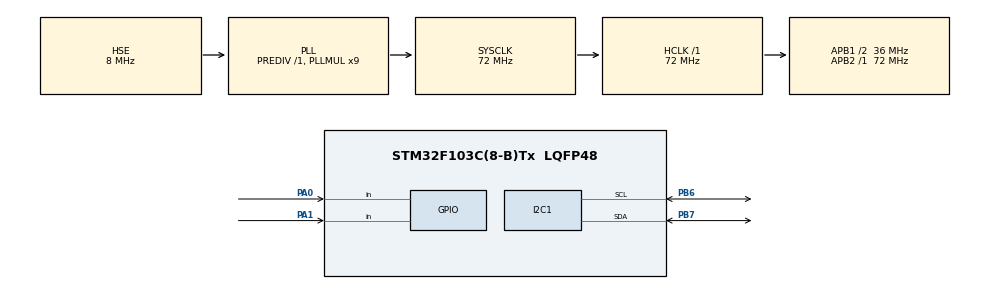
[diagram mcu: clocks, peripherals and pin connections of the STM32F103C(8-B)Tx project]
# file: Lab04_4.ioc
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Mcu.Family=STM32F1
Mcu.Name=STM32F103C(8-B)Tx
Mcu.Package=LQFP48
NVIC.PriorityGroup=NVIC_PRIORITYGROUP_4
PA0-WKUP.GPIO_PuPd=GPIO_PULLUP
PA0-WKUP.Signal=GPIO_Input
PA1.GPIO_PuPd=GPIO_PULLUP
PA1.Signal=GPIO_Input
PA13.Mode=Serial_Wire
PA13.Signal=SYS_JTMS-SWDIO
PA14.Mode=Serial_Wire
PA14.Signal=SYS_JTCK-SWCLK
PB6.Mode=I2C
PB6.Signal=I2C1_SCL
PB7.Mode=I2C
PB7.Signal=I2C1_SDA
PD0-OSC_IN.Mode=HSE-External-Oscillator
PD0-OSC_IN.Signal=RCC_OSC_IN
PD1-OSC_OUT.Mode=HSE-External-Oscillator
PD1-OSC_OUT.Signal=RCC_OSC_OUT
ProjectManager.HeapSize=0x200
ProjectManager.StackSize=0x400
ProjectManager.TargetToolchain=CMake
RCC.AHBFreq_Value=72000000
RCC.APB1CLKDivider=RCC_HCLK_DIV2
RCC.APB1Freq_Value=36000000
RCC.APB1TimFreq_Value=72000000
RCC.APB2Freq_Value=72000000
RCC.APB2TimFreq_Value=72000000
RCC.HCLKFreq_Value=72000000
RCC.PLLMUL=RCC_PLL_MUL9
RCC.PLLSourceVirtual=RCC_PLLSOURCE_HSE
RCC.SYSCLKFreq_VALUE=72000000
RCC.SYSCLKSource=RCC_SYSCLKSOURCE_PLLCLK
RCC.USBFreq_Value=72000000
board=custom

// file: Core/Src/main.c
/* USER CODE BEGIN Header */
/**
  ******************************************************************************
  * @file           : main.c
  * @brief          : Main program body
  ******************************************************************************
  * @attention
  *
  * Copyright (c) 2026 STMicroelectronics.
  * All rights reserved.
  *
  * This software is licensed under terms that can be found in the LICENSE file
  * in the root directory of this software component.
  * If no LICENSE file comes with this software, it is provided AS-IS.
  *
  ******************************************************************************
  */
/* USER CODE END Header */
#include "main.h"

/* USER CODE BEGIN Includes */
#include "i2c-lcd.h"
#include <stdio.h>
#include <string.h>
/* USER CODE END Includes */

I2C_HandleTypeDef hi2c1;

void SystemClock_Config(void);
static void MX_GPIO_Init(void);
static void MX_I2C1_Init(void);

/* USER CODE BEGIN 0 */
#define MEMBER_COUNT 3
const char *member_name[MEMBER_COUNT] = {"Y.Thathinon", "W.Theeramet", "N.Tanapat"};
const char *member_id[MEMBER_COUNT]   = {"116830462015-0", "116830462011-9", "116830462012-7"};

uint8_t display_state = 0;
uint8_t force_update = 1;
uint8_t last1 = 0, last2 = 0;

uint32_t last_scroll_tick = 0;
int scroll_pos = 0;
int scroll_dir = 1;
char scroll_text[] = "<< Press button to show >>";

void process_lcd_state(void)
{
  if (display_state == 0)
  {
    if (force_update)
    {
      lcd_clear();
      lcd_put_cur(0, 0);
      lcd_send_string("Member List");
      force_update = 0;
    }

    if (HAL_GetTick() - last_scroll_tick > 300)
    {
      last_scroll_tick = HAL_GetTick();
      lcd_scrolling_text(1, scroll_text, scroll_pos, 16);

      scroll_pos += scroll_dir;
      int max_pos = strlen(scroll_text) - 16;
      if (scroll_pos >= max_pos)      { scroll_pos = max_pos; scroll_dir = -1; }
      else if (scroll_pos <= 0)       { scroll_pos = 0;       scroll_dir = 1;  }
    }
  }
  else if (force_update)
  {
    lcd_clear();
    lcd_put_cur(0, 0);
    lcd_send_string((char *)member_name[display_state - 1]);
    lcd_put_cur(1, 0);
    lcd_send_string((char *)member_id[display_state - 1]);
    force_update = 0;
  }
}
/* USER CODE END 0 */

int main(void)
{

  /* USER CODE BEGIN 1 */
  int8_t counter = 10;
  char lcd_buffer[20];
  /* USER CODE END 1 */

  /* MCU Configuration--------------------------------------------------------*/

  /* Reset of all peripherals, Initializes the Flash interface and the Systick. */
  HAL_Init();

  /* Configure the system clock */
  SystemClock_Config();

  /* Initialize all configured peripherals */
  MX_GPIO_Init();
  MX_I2C1_Init();
  /* USER CODE BEGIN 2 */
  lcd_init();
  lcd_clear();
  /* USER CODE END 2 */

  /* Infinite loop */
  while (1)
  {

    /* USER CODE BEGIN 3 */
    process_lcd_state();

uint8_t b1 = (HAL_GPIO_ReadPin(GPIOA, GPIO_PIN_0) == GPIO_PIN_RESET);
uint8_t b2 = (HAL_GPIO_ReadPin(GPIOA, GPIO_PIN_1) == GPIO_PIN_RESET);

if (b2 && !last2)
{
  display_state = 0;
  scroll_pos = 0;
  scroll_dir = 1;
  force_update = 1;
}
else if (b1 && !last1)
{
  display_state = (display_state >= MEMBER_COUNT) ? 1 : display_state + 1;
  force_update = 1;
}
last1 = b1;
last2 = b2;

HAL_Delay(20);
  }
  /* USER CODE END 3 */
}

void SystemClock_Config(void)
{
  RCC_OscInitTypeDef RCC_OscInitStruct = {0};
  RCC_ClkInitTypeDef RCC_ClkInitStruct = {0};

  /** Initializes the RCC Oscillators according to the specified parameters
  * in the RCC_OscInitTypeDef structure.
  */
  RCC_OscInitStruct.OscillatorType = RCC_OSCILLATORTYPE_HSE;
  RCC_OscInitStruct.HSEState = RCC_HSE_ON;
  RCC_OscInitStruct.HSEPredivValue = RCC_HSE_PREDIV_DIV1;
  RCC_OscInitStruct.HSIState = RCC_HSI_ON;
  RCC_OscInitStruct.PLL.PLLState = RCC_PLL_ON;
  RCC_OscInitStruct.PLL.PLLSource = RCC_PLLSOURCE_HSE;
  RCC_OscInitStruct.PLL.PLLMUL = RCC_PLL_MUL9;
  if (HAL_RCC_OscConfig(&RCC_OscInitStruct) != HAL_OK)
  {
    Error_Handler();
  }

  /** Initializes the CPU, AHB and APB buses clocks
  */
  RCC_ClkInitStruct.ClockType = RCC_CLOCKTYPE_HCLK|RCC_CLOCKTYPE_SYSCLK
                              |RCC_CLOCKTYPE_PCLK1|RCC_CLOCKTYPE_PCLK2;
  RCC_ClkInitStruct.SYSCLKSource = RCC_SYSCLKSOURCE_PLLCLK;
  RCC_ClkInitStruct.AHBCLKDivider = RCC_SYSCLK_DIV1;
  RCC_ClkInitStruct.APB1CLKDivider = RCC_HCLK_DIV2;
  RCC_ClkInitStruct.APB2CLKDivider = RCC_HCLK_DIV1;

  if (HAL_RCC_ClockConfig(&RCC_ClkInitStruct, FLASH_LATENCY_2) != HAL_OK)
  {
    Error_Handler();
  }
}

static void MX_I2C1_Init(void)
{

  hi2c1.Instance = I2C1;
  hi2c1.Init.ClockSpeed = 100000;
  hi2c1.Init.DutyCycle = I2C_DUTYCYCLE_2;
  hi2c1.Init.OwnAddress1 = 0;
  hi2c1.Init.AddressingMode = I2C_ADDRESSINGMODE_7BIT;
  hi2c1.Init.DualAddressMode = I2C_DUALADDRESS_DISABLE;
  hi2c1.Init.OwnAddress2 = 0;
  hi2c1.Init.GeneralCallMode = I2C_GENERALCALL_DISABLE;
  hi2c1.Init.NoStretchMode = I2C_NOSTRETCH_DISABLE;
  if (HAL_I2C_Init(&hi2c1) != HAL_OK)
  {
    Error_Handler();
  }

}

static void MX_GPIO_Init(void)
{

  /* GPIO Ports Clock Enable */
  __HAL_RCC_GPIOD_CLK_ENABLE();
  __HAL_RCC_GPIOA_CLK_ENABLE();
  __HAL_RCC_GPIOB_CLK_ENABLE();

}

void Error_Handler(void)
{
  __disable_irq();
  while (1)
  {
  }
}
